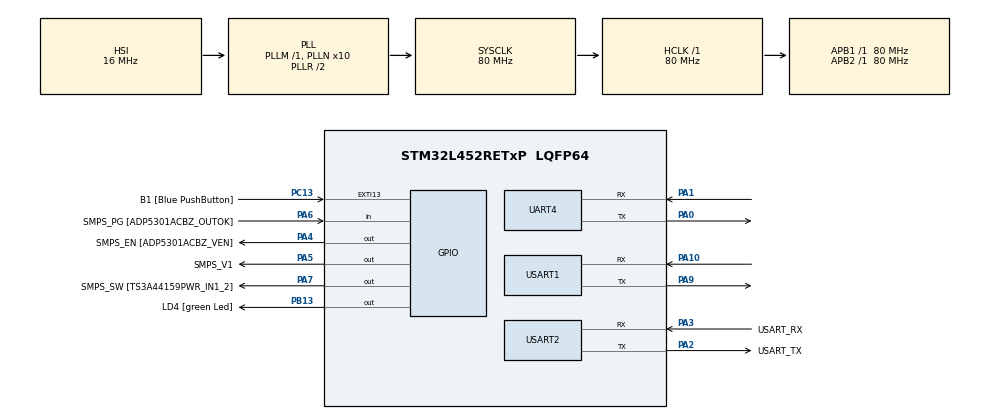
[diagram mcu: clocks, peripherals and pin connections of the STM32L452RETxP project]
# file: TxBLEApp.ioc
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Mcu.Family=STM32L4
Mcu.Name=STM32L452RETxP
Mcu.Package=LQFP64
NVIC.PriorityGroup=NVIC_PRIORITYGROUP_4
NVIC.UART4_IRQn=true\:0\:0\:false\:false\:true\:true\:true\:true
NVIC.USART1_IRQn=true\:0\:0\:false\:false\:true\:true\:true\:true
NVIC.USART2_IRQn=true\:0\:0\:false\:false\:true\:true\:true\:true
PA0.Mode=Asynchronous
PA0.Signal=UART4_TX
PA1.Mode=Asynchronous
PA1.Signal=UART4_RX
PA10.Mode=Asynchronous
PA10.Signal=USART1_RX
PA13\ (JTMS/SWDIO).GPIO_Label=TMS
PA13\ (JTMS/SWDIO).Mode=Serial_Wire
PA13\ (JTMS/SWDIO).Signal=SYS_JTMS-SWDIO
PA14\ (JTCK/SWCLK).GPIO_Label=TCK
PA14\ (JTCK/SWCLK).Mode=Serial_Wire
PA14\ (JTCK/SWCLK).Signal=SYS_JTCK-SWCLK
PA2.GPIO_Label=USART_TX
PA2.GPIO_Mode=GPIO_MODE_AF_PP
PA2.GPIO_PuPd=GPIO_NOPULL
PA2.GPIO_Speed=GPIO_SPEED_FREQ_VERY_HIGH
PA2.Mode=Asynchronous
PA2.Signal=USART2_TX
PA3.GPIO_Label=USART_RX
PA3.GPIO_Mode=GPIO_MODE_AF_PP
PA3.GPIO_PuPd=GPIO_NOPULL
PA3.GPIO_Speed=GPIO_SPEED_FREQ_VERY_HIGH
PA3.Mode=Asynchronous
PA3.Signal=USART2_RX
PA4.GPIO_Label=SMPS_EN [ADP5301ACBZ_VEN]
PA4.Signal=GPIO_Output
PA5.GPIO_Label=SMPS_V1
PA5.GPIO_ModeDefaultOutputPP=GPIO_MODE_OUTPUT_PP
PA5.GPIO_PuPd=GPIO_NOPULL
PA5.GPIO_Speed=GPIO_SPEED_FREQ_LOW
PA5.Signal=GPIO_Output
PA6.GPIO_Label=SMPS_PG [ADP5301ACBZ_OUTOK]
PA6.GPIO_PuPd=GPIO_PULLUP
PA6.Signal=GPIO_Input
PA7.GPIO_Label=SMPS_SW [TS3A44159PWR_IN1_2]
PA7.Signal=GPIO_Output
PA9.Mode=Asynchronous
PA9.Signal=USART1_TX
PB13.GPIO_Label=LD4 [green Led]
PB13.Signal=GPIO_Output
PB3\ (JTDO/TRACESWO).GPIO_Label=SWO
PB3\ (JTDO/TRACESWO).Signal=SYS_JTDO-SWO
PC13.GPIO_Label=B1 [Blue PushButton]
PC13.GPIO_ModeDefaultEXTI=GPIO_MODE_IT_FALLING
PC13.GPIO_PuPd=GPIO_NOPULL
PC13.Signal=GPXTI13
PC14-OSC32_IN\ (PC14).Mode=LSE-External-Oscillator
PC14-OSC32_IN\ (PC14).Signal=RCC_OSC32_IN
PC15-OSC32_OUT\ (PC15).Mode=LSE-External-Oscillator
PC15-OSC32_OUT\ (PC15).Signal=RCC_OSC32_OUT
PH0-OSC_IN\ (PH0).GPIO_Label=MCO
PH0-OSC_IN\ (PH0).Mode=HSE-External-Clock-Source
PH0-OSC_IN\ (PH0).Signal=RCC_OSC_IN
PH1-OSC_OUT\ (PH1).Signal=RCC_OSC_OUT
ProjectManager.HeapSize=0x200
ProjectManager.StackSize=0x400
ProjectManager.TargetToolchain=STM32CubeIDE
RCC.ADCFreq_Value=64000000
RCC.AHBFreq_Value=80000000
RCC.APB1Freq_Value=80000000
RCC.APB1TimFreq_Value=80000000
RCC.APB2Freq_Value=80000000
RCC.APB2TimFreq_Value=80000000
RCC.CortexFreq_Value=80000000
RCC.HCLKFreq_Value=80000000
RCC.HSE_VALUE=8000000
RCC.HSI48_VALUE=48000000
RCC.HSI_VALUE=16000000
RCC.MSI_VALUE=4000000
RCC.PLLN=10
RCC.PLLSourceVirtual=RCC_PLLSOURCE_HSI
RCC.PREFETCH_ENABLE=1
RCC.SYSCLKFreq_VALUE=80000000
RCC.SYSCLKSource=RCC_SYSCLKSOURCE_PLLCLK
RCC.USBFreq_Value=64000000
RCC.VCOOutputFreq_Value=160000000
USART1.VirtualMode-Asynchronous=VM_ASYNC
USART2.VirtualMode-Asynchronous=VM_ASYNC
board=NUCLEO-L452RE-P

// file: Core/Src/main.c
/* USER CODE BEGIN Header */
/**
  ******************************************************************************
  * @file           : main.c
  * @brief          : Main program body
  ******************************************************************************
  * @attention
  *
  * Copyright (c) 2023 STMicroelectronics.
  * All rights reserved.
  *
  * This software is licensed under terms that can be found in the LICENSE file
  * in the root directory of this software component.
  * If no LICENSE file comes with this software, it is provided AS-IS.
  *
  ******************************************************************************
  */
/* USER CODE END Header */
#include "main.h"

/* USER CODE BEGIN Includes */
#include <stdio.h>
#include <string.h>
#include "stm32l4xx_hal.h"
/* USER CODE END Includes */

/* USER CODE BEGIN PM */
#define MAJOR 0		// BL Major version Number
#define MINOR 2		// BL Minor version Number
#define FLASH_CONF_ADDRESS 0x08020000
/* USER CODE END PM */

UART_HandleTypeDef huart4;
UART_HandleTypeDef huart1;
UART_HandleTypeDef huart2;

/* USER CODE BEGIN PV */
const uint8_t BL_Version[2] = { MAJOR, MINOR };;
uint8_t rx_Tbuff[20];
uint8_t tx_buff[20];
uint8_t tx_buff4[20];
uint8_t rx_Slavebuff[20];
uint8_t buffCounter = 0;
uint8_t configuration[8];
uint8_t buffCounter4 = 0;
uint8_t OTA_req_flag = 0;
static uint8_t OTA_conf[8];
/* USER CODE END PV */

void SystemClock_Config(void);
static void MX_GPIO_Init(void);
static void MX_USART2_UART_Init(void);
static void MX_UART4_Init(void);
static void MX_USART1_UART_Init(void);
/* USER CODE BEGIN PFP */
static HAL_StatusTypeDef write_cfg_to_flash(uint8_t *ulldata, uint32_t data_len );
/* USER CODE END PFP */

int main(void)
{

  /* MCU Configuration--------------------------------------------------------*/

  /* Reset of all peripherals, Initializes the Flash interface and the Systick. */
  HAL_Init();

  /* Configure the system clock */
  SystemClock_Config();

  /* Initialize all configured peripherals */
  MX_GPIO_Init();
  MX_USART2_UART_Init();
  MX_UART4_Init();
  MX_USART1_UART_Init();
  /* USER CODE BEGIN 2 */
  HAL_UART_Receive_IT(&huart4, rx_Slavebuff, 1);
  HAL_UART_Receive_IT(&huart2, rx_Tbuff, 1);
  uint8_t * conf = (uint8_t *)FLASH_CONF_ADDRESS;
  memcpy(configuration, conf, 8);

  printf("Starting Application(%d.%d)\r\n", BL_Version[0], BL_Version[1] );
  /* USER CODE END 2 */

  /* Infinite loop */
  while (1)
  {

    /* USER CODE BEGIN 3 */
	  HAL_GPIO_WritePin(LD4_GPIO_Port, LD4_Pin, GPIO_PIN_SET );
	  HAL_Delay(500);
	  HAL_GPIO_WritePin(LD4_GPIO_Port, LD4_Pin, GPIO_PIN_RESET );
	  HAL_Delay(500);
  }
  /* USER CODE END 3 */
}

void SystemClock_Config(void)
{
  RCC_OscInitTypeDef RCC_OscInitStruct = {0};
  RCC_ClkInitTypeDef RCC_ClkInitStruct = {0};

  /** Configure the main internal regulator output voltage
  */
  if (HAL_PWREx_ControlVoltageScaling(PWR_REGULATOR_VOLTAGE_SCALE1) != HAL_OK)
  {
    Error_Handler();
  }

  /** Initializes the RCC Oscillators according to the specified parameters
  * in the RCC_OscInitTypeDef structure.
  */
  RCC_OscInitStruct.OscillatorType = RCC_OSCILLATORTYPE_HSI;
  RCC_OscInitStruct.HSIState = RCC_HSI_ON;
  RCC_OscInitStruct.HSICalibrationValue = RCC_HSICALIBRATION_DEFAULT;
  RCC_OscInitStruct.PLL.PLLState = RCC_PLL_ON;
  RCC_OscInitStruct.PLL.PLLSource = RCC_PLLSOURCE_HSI;
  RCC_OscInitStruct.PLL.PLLM = 1;
  RCC_OscInitStruct.PLL.PLLN = 10;
  RCC_OscInitStruct.PLL.PLLP = RCC_PLLP_DIV7;
  RCC_OscInitStruct.PLL.PLLQ = RCC_PLLQ_DIV2;
  RCC_OscInitStruct.PLL.PLLR = RCC_PLLR_DIV2;
  if (HAL_RCC_OscConfig(&RCC_OscInitStruct) != HAL_OK)
  {
    Error_Handler();
  }

  /** Initializes the CPU, AHB and APB buses clocks
  */
  RCC_ClkInitStruct.ClockType = RCC_CLOCKTYPE_HCLK|RCC_CLOCKTYPE_SYSCLK
                              |RCC_CLOCKTYPE_PCLK1|RCC_CLOCKTYPE_PCLK2;
  RCC_ClkInitStruct.SYSCLKSource = RCC_SYSCLKSOURCE_PLLCLK;
  RCC_ClkInitStruct.AHBCLKDivider = RCC_SYSCLK_DIV1;
  RCC_ClkInitStruct.APB1CLKDivider = RCC_HCLK_DIV1;
  RCC_ClkInitStruct.APB2CLKDivider = RCC_HCLK_DIV1;

  if (HAL_RCC_ClockConfig(&RCC_ClkInitStruct, FLASH_LATENCY_4) != HAL_OK)
  {
    Error_Handler();
  }
}

static void MX_UART4_Init(void)
{

  huart4.Instance = UART4;
  huart4.Init.BaudRate = 9600;
  huart4.Init.WordLength = UART_WORDLENGTH_8B;
  huart4.Init.StopBits = UART_STOPBITS_1;
  huart4.Init.Parity = UART_PARITY_NONE;
  huart4.Init.Mode = UART_MODE_TX_RX;
  huart4.Init.HwFlowCtl = UART_HWCONTROL_NONE;
  huart4.Init.OverSampling = UART_OVERSAMPLING_16;
  huart4.Init.OneBitSampling = UART_ONE_BIT_SAMPLE_DISABLE;
  huart4.AdvancedInit.AdvFeatureInit = UART_ADVFEATURE_NO_INIT;
  if (HAL_UART_Init(&huart4) != HAL_OK)
  {
    Error_Handler();
  }

}

static void MX_USART1_UART_Init(void)
{

  huart1.Instance = USART1;
  huart1.Init.BaudRate = 115200;
  huart1.Init.WordLength = UART_WORDLENGTH_8B;
  huart1.Init.StopBits = UART_STOPBITS_1;
  huart1.Init.Parity = UART_PARITY_NONE;
  huart1.Init.Mode = UART_MODE_TX_RX;
  huart1.Init.HwFlowCtl = UART_HWCONTROL_NONE;
  huart1.Init.OverSampling = UART_OVERSAMPLING_16;
  huart1.Init.OneBitSampling = UART_ONE_BIT_SAMPLE_DISABLE;
  huart1.AdvancedInit.AdvFeatureInit = UART_ADVFEATURE_NO_INIT;
  if (HAL_UART_Init(&huart1) != HAL_OK)
  {
    Error_Handler();
  }

}

static void MX_USART2_UART_Init(void)
{

  huart2.Instance = USART2;
  huart2.Init.BaudRate = 115200;
  huart2.Init.WordLength = UART_WORDLENGTH_8B;
  huart2.Init.StopBits = UART_STOPBITS_1;
  huart2.Init.Parity = UART_PARITY_NONE;
  huart2.Init.Mode = UART_MODE_TX_RX;
  huart2.Init.HwFlowCtl = UART_HWCONTROL_NONE;
  huart2.Init.OverSampling = UART_OVERSAMPLING_16;
  huart2.Init.OneBitSampling = UART_ONE_BIT_SAMPLE_DISABLE;
  huart2.AdvancedInit.AdvFeatureInit = UART_ADVFEATURE_NO_INIT;
  if (HAL_UART_Init(&huart2) != HAL_OK)
  {
    Error_Handler();
  }

}

static void MX_GPIO_Init(void)
{
  GPIO_InitTypeDef GPIO_InitStruct = {0};

  /* GPIO Ports Clock Enable */
  __HAL_RCC_GPIOC_CLK_ENABLE();
  __HAL_RCC_GPIOH_CLK_ENABLE();
  __HAL_RCC_GPIOA_CLK_ENABLE();
  __HAL_RCC_GPIOB_CLK_ENABLE();

  /*Configure GPIO pin Output Level */
  HAL_GPIO_WritePin(GPIOA, SMPS_EN_Pin|SMPS_V1_Pin|SMPS_SW_Pin, GPIO_PIN_RESET);

  /*Configure GPIO pin Output Level */
  HAL_GPIO_WritePin(LD4_GPIO_Port, LD4_Pin, GPIO_PIN_RESET);

  /*Configure GPIO pin : B1_Pin */
  GPIO_InitStruct.Pin = B1_Pin;
  GPIO_InitStruct.Mode = GPIO_MODE_IT_FALLING;
  GPIO_InitStruct.Pull = GPIO_NOPULL;
  HAL_GPIO_Init(B1_GPIO_Port, &GPIO_InitStruct);

  /*Configure GPIO pins : SMPS_EN_Pin SMPS_V1_Pin SMPS_SW_Pin */
  GPIO_InitStruct.Pin = SMPS_EN_Pin|SMPS_V1_Pin|SMPS_SW_Pin;
  GPIO_InitStruct.Mode = GPIO_MODE_OUTPUT_PP;
  GPIO_InitStruct.Pull = GPIO_NOPULL;
  GPIO_InitStruct.Speed = GPIO_SPEED_FREQ_LOW;
  HAL_GPIO_Init(GPIOA, &GPIO_InitStruct);

  /*Configure GPIO pin : SMPS_PG_Pin */
  GPIO_InitStruct.Pin = SMPS_PG_Pin;
  GPIO_InitStruct.Mode = GPIO_MODE_INPUT;
  GPIO_InitStruct.Pull = GPIO_PULLUP;
  HAL_GPIO_Init(SMPS_PG_GPIO_Port, &GPIO_InitStruct);

  /*Configure GPIO pin : LD4_Pin */
  GPIO_InitStruct.Pin = LD4_Pin;
  GPIO_InitStruct.Mode = GPIO_MODE_OUTPUT_PP;
  GPIO_InitStruct.Pull = GPIO_NOPULL;
  GPIO_InitStruct.Speed = GPIO_SPEED_FREQ_LOW;
  HAL_GPIO_Init(LD4_GPIO_Port, &GPIO_InitStruct);

}

/* USER CODE BEGIN 4 */
void HAL_UART_RxCpltCallback(UART_HandleTypeDef *huart)
{
	uint8_t * conf = (uint8_t *) FLASH_CONF_ADDRESS;
	memcpy(OTA_conf, conf, 8);
	OTA_conf[0] = 0xAA;

	if (huart == &huart2){
		HAL_UART_Transmit(&huart2, rx_Tbuff, 1, 100);
		HAL_UART_Receive_IT(&huart2, rx_Tbuff, 1);

		tx_buff[buffCounter] = rx_Tbuff[0];
		if (rx_Tbuff[0]=='!'){
			OTA_req_flag = 1;
			HAL_UART_Transmit(&huart4, rx_Tbuff, 1, 100);
			printf("OTA REQUEST SENT\r\n");
			buffCounter = 0;
		}
		else if (rx_Tbuff[0]=='\r'){
			printf("\n\r");
			HAL_UART_Transmit(&huart4, tx_buff, buffCounter, 100);
			buffCounter = 0;
			}
		else{
			buffCounter++;
		}
	}
	else if(huart == &huart4){
		tx_buff4[buffCounter4] = rx_Slavebuff[0];

		if (rx_Slavebuff[0] == '!'){

			if (configuration[1] == 0xDD && configuration[3] == 0x01 ){
				OTA_conf[3] = 0x02;
				OTA_conf[1] = 0xDD;
				OTA_conf[2] = 0xFF;
				OTA_conf[4] = 0x00;
			}
			else if (configuration[2] == 0xDD && configuration[3] == 0x02){
				OTA_conf[3] = 0x01;
				OTA_conf[1] = 0xFF;
				OTA_conf[2] = 0xDD;
				OTA_conf[4] = 0x00;

			}
			printf("OTA REQUEST RECIEVED \r\n");
			write_cfg_to_flash(OTA_conf, sizeof(OTA_conf));
			buffCounter4 = 0;
			HAL_NVIC_SystemReset();
		}
		else if (tx_buff4[buffCounter4-1] == 'A' && tx_buff4[buffCounter4] == 'K' && OTA_req_flag == 1){
			printf("OTA REQUEST ACK \r\n");
			OTA_req_flag = 0;
			buffCounter4 = 0;
			write_cfg_to_flash(OTA_conf, sizeof(OTA_conf));
			HAL_NVIC_SystemReset();
		}
		printf("Master: %s\n\r", rx_Slavebuff);
		buffCounter4++;
		HAL_UART_Receive_IT(&huart4, rx_Slavebuff, 1);
	}
}

static HAL_StatusTypeDef write_cfg_to_flash(uint8_t *ulldata, uint32_t data_len )
{
  HAL_StatusTypeDef ret;
  static uint32_t address = FLASH_CONF_ADDRESS;//0x08020000;

  do
  {
    ret = HAL_FLASH_Unlock();
    if( ret != HAL_OK )
    {
      break;
    }

    //Check if the FLASH_FLAG_BSY.
    FLASH_WaitForLastOperation(HAL_MAX_DELAY);

    if ( configuration[0] != 0xff){
    	printf("Erasing the Config Flash memory...\r\n");
    		//Erase the Flash
		FLASH_EraseInitTypeDef EraseInitStruct;
		uint32_t SectorError;

		EraseInitStruct.TypeErase     = FLASH_TYPEERASE_PAGES;
		EraseInitStruct.Banks     = FLASH_BANK_1;
		EraseInitStruct.Page        = 64; // 1 page = 2K
		EraseInitStruct.NbPages     = 2;

		ret = HAL_FLASHEx_Erase( &EraseInitStruct, &SectorError );
		if( ret != HAL_OK )
		{
		  printf("Flash erase Error\r\n");
		  break;
		}
    }

    for(uint32_t i = 0; i < data_len; i+=8)
    {
      ret = HAL_FLASH_Program( FLASH_TYPEPROGRAM_DOUBLEWORD,
                               (address),
							   *(uint64_t*)&ulldata[i]);

      address += 8;

      if( ret != HAL_OK )
      {
        printf("App Flash Write Error\r\n");
        break;
      }
    }

    if( ret != HAL_OK )
    {
      break;
    }

    ret = HAL_FLASH_Lock();
    if( ret != HAL_OK )
    {
      break;
    }

    //Check if the FLASH_FLAG_BSY.
    FLASH_WaitForLastOperation(HAL_MAX_DELAY);

  }while(0);

  return ret;
}

#ifdef __GNUC__
  /* With GCC, small printf (option LD Linker->Libraries->Small printf
     set to 'Yes') calls __io_putchar() */
int __io_putchar(int ch)
#else
int fputc(int ch, FILE *f)
#endif /* __GNUC__ */
{
  /* Place your implementation of fputc here */
  /* e.g. write a character to the UART3 and Loop until the end of transmission */
  HAL_UART_Transmit(&huart2, (uint8_t *)&ch, 1, HAL_MAX_DELAY);
  return ch;
}
/* USER CODE END 4 */

void Error_Handler(void)
{
  __disable_irq();
  while (1)
  {
  }
}
